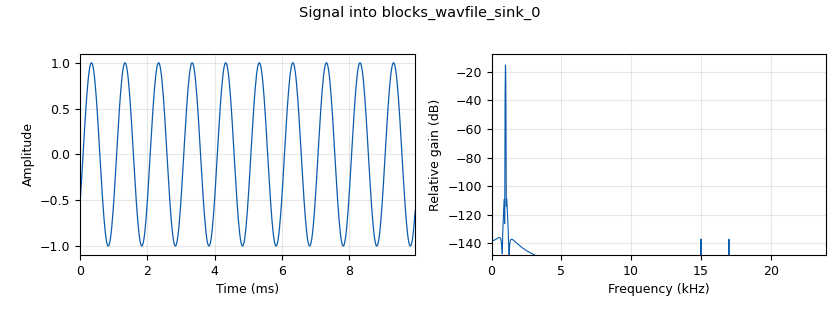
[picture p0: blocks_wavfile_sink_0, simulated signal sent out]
options:
  parameters:
    generate_options: qt_gui
    id: testwaveformoutput
    output_language: python
    title: Test waveform file output
  states: {}

blocks:
- name: samp_rate
  id: variable
  parameters:
    value: '48000'
  states: {}
- name: analog_sig_source_x_0
  id: analog_sig_source_x
  parameters:
    amp: '1'
    freq: '1000'
    offset: '0'
    phase: '0'
    samp_rate: samp_rate
    type: float
    waveform: analog.GR_COS_WAVE
  states: {}
- name: blocks_throttle2_0
  id: blocks_throttle2
  parameters:
    samples_per_second: samp_rate
    type: float
  states: {}
- name: blocks_wavfile_sink_0
  id: blocks_wavfile_sink
  parameters:
    bits_per_sample1: FORMAT_PCM_32
    file: out.wav
    format: FORMAT_WAV
    samp_rate: samp_rate
  states: {}

connections:
- [analog_sig_source_x_0, '0', blocks_throttle2_0, '0']
- [blocks_throttle2_0, '0', blocks_wavfile_sink_0, '0']

metadata:
  file_format: 1
  grc_version: 3.10.9.2
